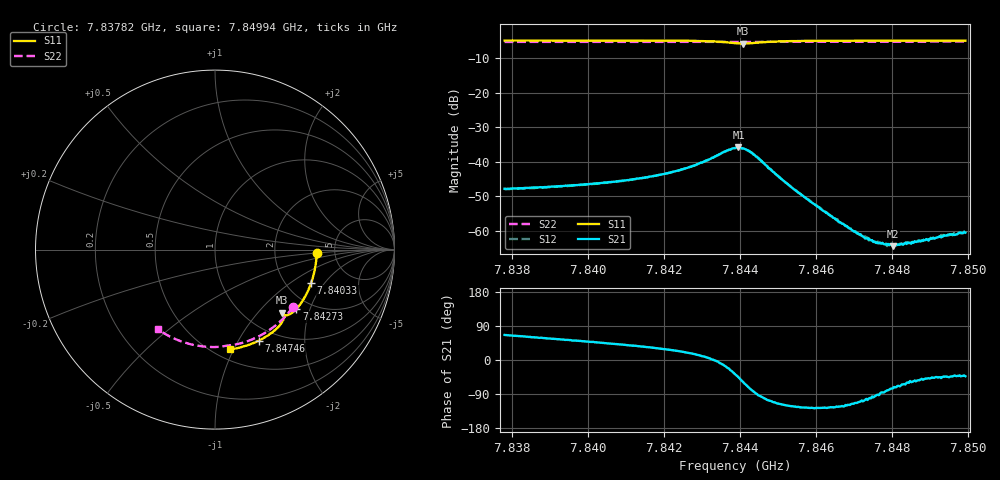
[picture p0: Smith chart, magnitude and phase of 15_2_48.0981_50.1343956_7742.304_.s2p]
#  HZ  S  RI  R  50.00
! Rohde & Schwarz Vector Network Analyzer
! Rohde-Schwarz,ZNB20-2Port,1311601062101988,3.16
! Created: UTC 12/23/2023, 3:36:05 AM
! freq[Hz]  re:S11  im:S11  re:S21  im:S21  re:S12  im:S12  re:S22  im:S22
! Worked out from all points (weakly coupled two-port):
!   401 points, 7.83782 GHz to 7.84994 GHz, reference 50 ohm
!   highest |S21| = -35.85 dB at 7.84397 GHz (marker M1); lowest = -64.4 dB at 7.84803 GHz (marker M2)
!   lowest |S11| = -5.8 dB at 7.84409 GHz (marker M3), VSWR 3.10, Z = 71.2 - j67.9 ohm
!   |S11| at or under -10 dB: nowhere
!   |S22| runs from -5.4 to -5.3 dB; largest |S21 - S12| = 0.00029
!   S11 on the Smith chart (normalised r, x): 7.83782 GHz: 3.60, -0.21; 7.84033 GHz: 2.72, -1.48; 7.84273 GHz: 1.68, -1.62; 7.84746 GHz: 0.82, -1.22; 7.84994 GHz: 0.60, -0.97
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7.837817e9  0.5664 -0.0197  0.00164 0.00372  0.00169 0.00367  0.436 -0.3187
7.839848e9  0.546 -0.1534  0.00302 0.00356  0.00297 0.00354  0.3383 -0.422
7.840333e9  0.5361 -0.1848  0.00343 0.00352  0.0034 0.00354  0.3111 -0.4425
7.84188e9  0.4907 -0.281  0.00557 0.00328  0.00553 0.00329  0.217 -0.4961
7.842728e9  0.453 -0.3311  0.00815 0.00257  0.00812 0.00254  0.1609 -0.517
7.843456e9  0.4045 -0.3647  0.0127 -0.00139  0.0125 -0.00146  0.1111 -0.5288
7.84388e9  0.3735 -0.3604  0.0126 -0.00956  0.0127 -0.00952  0.0828 -0.5327
7.843971e9  0.371 -0.3561  0.0113 -0.0115  0.0111 -0.0113  0.0771 -0.5334
7.844093e9  0.3719 -0.3516  0.00829 -0.0132  0.00822 -0.0132  0.0694 -0.5343
7.844396e9  0.3828 -0.3566  0.000985 -0.0125  0.00103 -0.0125  0.0503 -0.5378
7.845154e9  0.3706 -0.4093  -0.00253 -0.00471  -0.00254 -0.00474  -0.00288 -0.5429
7.845912e9  0.3325 -0.45  -0.0015 -0.00206  -0.00155 -0.00206  -0.0563 -0.5407
7.846942e9  0.2738 -0.4915  -0.000459 -0.000941  -0.000496 -0.000952  -0.1281 -0.5292
7.847276e9  0.2536 -0.5024  -0.000243 -0.000772  -0.000264 -0.00078  -0.1507 -0.5233
7.847458e9  0.2429 -0.5077  -0.000143 -0.00072  -0.000128 -0.000735  -0.1629 -0.5199
7.847579e9  0.2353 -0.5113  -5.48e-05 -0.000675  -5.74e-05 -0.000685  -0.1712 -0.5172
7.847943e9  0.2129 -0.5212  0.000128 -0.000607  0.000133 -0.000617  -0.1953 -0.509
7.848034e9  0.2072 -0.5236  0.000158 -0.00058  0.000178 -0.000621  -0.2013 -0.5066
7.848519e9  0.1766 -0.5348  0.000342 -0.000557  0.000345 -0.000571  -0.2326 -0.4932
7.849368e9  0.1219 -0.5495  0.000608 -0.000585  0.000587 -0.000649  -0.2852 -0.4655
7.84955e9  0.1101 -0.552  0.00065 -0.000618  0.000644 -0.000612  -0.296 -0.4586
7.849944e9  0.0841 -0.5563  0.000694 -0.000644  0.000743 -0.000632  -0.3189 -0.4433
